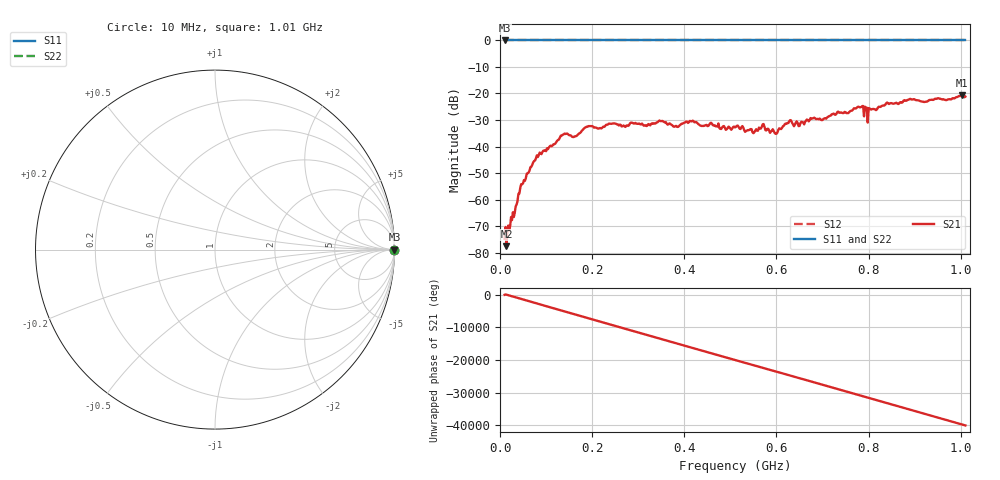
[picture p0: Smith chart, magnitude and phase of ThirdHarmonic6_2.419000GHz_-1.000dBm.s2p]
! 8/17/2025 4:06:51 AM
! C:\ANRITSUVNA\TEMP\TEMP.S2P
! CHANNEL.1
! TR.MEASUREMENT
! RAW.DATA
! RF.CORRECTION.OFF
! AVERAGING.OFF
! IF.BANDWIDTH: 5KHZ
! SWEEPTYPE:  FREQ.SWEEP(Linear)
! Reference Plane Port Info
! PORT:  PORT1  PORT2
! DISTANCE:  0  m  0  m
! TIME:  0  s  0  s
! PHASE.OFFSET:  0  deg.  0  deg.
! LOSS:  0  dB  0  dB
! REF.LOSS:  0  dB  0  dB
! REF.FREQ:  0  Hz  0  Hz
! Power Info
! POWER:  -20  dBm  -20  dBm
! EFF.POWER:  -20  dBm  -20  dBm
! SOURCE.ATTEN:  0  dB  0  dB
! TEST.ATTEN:  0  dB  0  dB
# GHZ S RI R 50.0
! FREQ.GHZ  S11RE  S11IM  S21RE  S21IM  S12RE  S12IM  S22RE  S22IM
!; PortSelection: Port_12
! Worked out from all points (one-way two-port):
!   501 points, 10 MHz to 1.01 GHz, reference 50 ohm
!   highest |S21| = -20.62 dB at 1.002 GHz (marker M1); lowest = -77.6 dB at 14 MHz (marker M2)
!   lowest |S11| = 0.0 dB at 10 MHz (marker M3)
!   |S11| at or under -10 dB: nowhere
!   |S22| runs from 0.0 to 0.0 dB; largest |S21 - S12| = 1.1
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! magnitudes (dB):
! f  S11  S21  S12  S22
! 10 MHz  0.0  -74.8  0.0  0.0
! 14 MHz  0.0  -77.6  0.0  0.0
! 34 MHz  0.0  -62.6  0.0  0.0
! 48 MHz  0.0  -54.2  0.0  0.0
! 82 MHz  0.0  -44.0  0.0  0.0
! 136 MHz  0.0  -35.6  0.0  0.0
! 162 MHz  0.0  -36.2  0.0  0.0
! 178 MHz  0.0  -34.0  0.0  0.0
! 344 MHz  0.0  -30.5  0.0  0.0
! 382 MHz  0.0  -32.2  0.0  0.0
! 510 MHz  0.0  -32.8  0.0  0.0
! 552 MHz  0.0  -34.6  0.0  0.0
! 570 MHz  0.0  -31.6  0.0  0.0
! 598 MHz  0.0  -35.2  0.0  0.0
! 628 MHz  0.0  -30.4  0.0  0.0
! 650 MHz  0.0  -32.2  0.0  0.0
! 678 MHz  0.0  -29.4  0.0  0.0
! 784 MHz  0.0  -25.1  0.0  0.0
! 802 MHz  0.0  -25.6  0.0  0.0
! 844 MHz  0.0  -24.0  0.0  0.0
! 1.002 GHz  0.0  -20.6  0.0  0.0
! 1.01 GHz  0.0  -21.2  0.0  0.0
